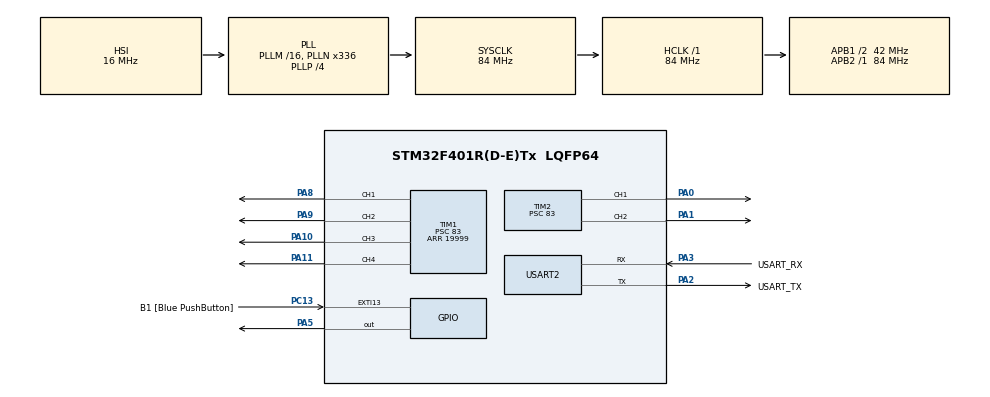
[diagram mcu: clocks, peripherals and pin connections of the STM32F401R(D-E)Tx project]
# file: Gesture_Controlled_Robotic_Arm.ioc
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Mcu.Family=STM32F4
Mcu.Name=STM32F401R(D-E)Tx
Mcu.Package=LQFP64
NVIC.PriorityGroup=NVIC_PRIORITYGROUP_4
PA0-WKUP.Signal=S_TIM2_CH1_ETR
PA1.Signal=S_TIM2_CH2
PA10.Signal=S_TIM1_CH3
PA11.Signal=S_TIM1_CH4
PA13.GPIO_Label=TMS
PA13.Mode=Trace_Asynchronous_SW
PA13.Signal=SYS_JTMS-SWDIO
PA14.GPIO_Label=TCK
PA14.Mode=Trace_Asynchronous_SW
PA14.Signal=SYS_JTCK-SWCLK
PA2.GPIO_Label=USART_TX
PA2.GPIO_Mode=GPIO_MODE_AF_PP
PA2.GPIO_PuPd=GPIO_NOPULL
PA2.GPIO_Speed=GPIO_SPEED_FREQ_LOW
PA2.Mode=Asynchronous
PA2.Signal=USART2_TX
PA3.GPIO_Label=USART_RX
PA3.GPIO_Mode=GPIO_MODE_AF_PP
PA3.GPIO_PuPd=GPIO_NOPULL
PA3.GPIO_Speed=GPIO_SPEED_FREQ_LOW
PA3.Mode=Asynchronous
PA3.Signal=USART2_RX
PA5.Signal=GPIO_Output
PA8.Signal=S_TIM1_CH1
PA9.Signal=S_TIM1_CH2
PB3.GPIO_Label=SWO
PB3.Mode=Trace_Asynchronous_SW
PB3.Signal=SYS_JTDO-SWO
PC13-ANTI_TAMP.GPIO_Label=B1 [Blue PushButton]
PC13-ANTI_TAMP.GPIO_ModeDefaultEXTI=GPIO_MODE_IT_FALLING
PC13-ANTI_TAMP.GPIO_PuPd=GPIO_NOPULL
PC13-ANTI_TAMP.Signal=GPXTI13
PC14-OSC32_IN.Mode=LSE-External-Oscillator
PC14-OSC32_IN.Signal=RCC_OSC32_IN
PC15-OSC32_OUT.Mode=LSE-External-Oscillator
PC15-OSC32_OUT.Signal=RCC_OSC32_OUT
PH0\ -\ OSC_IN.Mode=HSE-External-Clock-Source
PH0\ -\ OSC_IN.Signal=RCC_OSC_IN
PH1\ -\ OSC_OUT.Mode=HSE-External-Clock-Source
PH1\ -\ OSC_OUT.Signal=RCC_OSC_OUT
ProjectManager.HeapSize=0x200
ProjectManager.StackSize=0x400
ProjectManager.TargetToolchain=STM32CubeIDE
RCC.48MHZClocksFreq_Value=48000000
RCC.AHBFreq_Value=84000000
RCC.APB1CLKDivider=RCC_HCLK_DIV2
RCC.APB1Freq_Value=42000000
RCC.APB1TimFreq_Value=84000000
RCC.APB2Freq_Value=84000000
RCC.APB2TimFreq_Value=84000000
RCC.CortexFreq_Value=84000000
RCC.HCLKFreq_Value=84000000
RCC.HSE_VALUE=8000000
RCC.HSI_VALUE=16000000
RCC.PLLN=336
RCC.PLLP=RCC_PLLP_DIV4
RCC.PLLQ=7
RCC.SYSCLKFreq_VALUE=84000000
RCC.SYSCLKSource=RCC_SYSCLKSOURCE_PLLCLK
RCC.VCOOutputFreq_Value=336000000
SH.S_TIM1_CH1.0=TIM1_CH1,PWM Generation1 CH1
SH.S_TIM1_CH2.0=TIM1_CH2,PWM Generation2 CH2
SH.S_TIM1_CH3.0=TIM1_CH3,PWM Generation3 CH3
SH.S_TIM1_CH4.0=TIM1_CH4,PWM Generation4 CH4
SH.S_TIM2_CH1_ETR.0=TIM2_CH1,PWM Generation1 CH1
SH.S_TIM2_CH2.0=TIM2_CH2,PWM Generation2 CH2
TIM1.AutoReloadPreload=TIM_AUTORELOAD_PRELOAD_DISABLE
TIM1.Channel-PWM\ Generation1\ CH1=TIM_CHANNEL_1
TIM1.Channel-PWM\ Generation2\ CH2=TIM_CHANNEL_2
TIM1.Channel-PWM\ Generation3\ CH3=TIM_CHANNEL_3
TIM1.Channel-PWM\ Generation4\ CH4=TIM_CHANNEL_4
TIM1.Period=19999
TIM1.Prescaler=83
TIM2.Channel-PWM\ Generation1\ CH1=TIM_CHANNEL_1
TIM2.Channel-PWM\ Generation2\ CH2=TIM_CHANNEL_2
TIM2.Period=1999
TIM2.Prescaler=83
USART2.VirtualMode=VM_ASYNC
VP_TIM1_VS_ClockSourceINT.Mode=Internal
VP_TIM2_VS_ClockSourceINT.Mode=Internal
board=NUCLEO-F401RE

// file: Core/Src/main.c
/* USER CODE BEGIN Header */
/**
  ******************************************************************************
  * @file           : main.c
  * @brief          : Main program body
  ******************************************************************************
  * @attention
  *
  * Copyright (c) 2025 STMicroelectronics.
  * All rights reserved.
  *
  * This software is licensed under terms that can be found in the LICENSE file
  * in the root directory of this software component.
  * If no LICENSE file comes with this software, it is provided AS-IS.
  *
  ******************************************************************************
  */
/* USER CODE END Header */
#include "main.h"

TIM_HandleTypeDef htim1;
TIM_HandleTypeDef htim2;

UART_HandleTypeDef huart2;

void SystemClock_Config(void);
static void MX_GPIO_Init(void);
static void MX_USART2_UART_Init(void);
static void MX_TIM2_Init(void);
static void MX_TIM1_Init(void);
/* USER CODE BEGIN PFP */
void set_servo_angle(TIM_HandleTypeDef *htim, uint32_t Channel, uint8_t angle) {
    // 0° => 0.5ms pulse, 180° => 2.5ms pulse
    uint16_t min_pulse = 500;    // 0.5ms = 500us
    uint16_t max_pulse = 2500;   // 2.5ms = 2500us
    uint16_t pulse = min_pulse + (angle * (max_pulse - min_pulse)) / 180;

    __HAL_TIM_SET_COMPARE(htim, Channel, pulse);
}

void set_gripper_position(uint8_t percent) {
    // percent: 0 (fully closed) to 100 (fully open)
    uint16_t min_pulse = 700;    // closed
    uint16_t max_pulse = 1800;   // open

    if (percent > 100) percent = 100;  // clamp to 100%

    uint16_t pulse = min_pulse + (percent * (max_pulse - min_pulse)) / 100;

    __HAL_TIM_SET_COMPARE(&htim2, TIM_CHANNEL_2, pulse);
}
void update_all_servos(uint8_t servo_vals[6]) {
    // servo_vals[0] = base
    // servo_vals[1] = shoulder
    // servo_vals[2] = elbow
    // servo_vals[3] = wrist
    // servo_vals[4] = wrist_rotate
    // servo_vals[5] = gripper (as percentage)

    set_servo_angle(&htim2, TIM_CHANNEL_1, servo_vals[0]); // base
    set_servo_angle(&htim1, TIM_CHANNEL_1, servo_vals[1]); // shoulder

    set_servo_angle(&htim1, TIM_CHANNEL_2, servo_vals[2]); // elbow

    set_servo_angle(&htim1, TIM_CHANNEL_3, servo_vals[3]); // wrist

    set_servo_angle(&htim1, TIM_CHANNEL_4, servo_vals[4]); // wrist rotate
//    set_gripper_position(servo_vals[5]);                   // gripper
}

/* USER CODE END PFP */

int main(void)
{

  /* USER CODE BEGIN 1 */
	uint8_t pose1[6] = {90, 80, 80, 30, 100, 60};
	uint8_t pose2[6] = {90, 80, 80, 30, 100, 85};
	uint8_t pose3[6] = {130, 40, 120, 20, 100, 85};
	uint8_t pose4[6] = {180, 60, 120, 20, 100, 0};
	uint8_t rx_byte;

  /* USER CODE END 1 */

  /* MCU Configuration--------------------------------------------------------*/

  /* Reset of all peripherals, Initializes the Flash interface and the Systick. */
  HAL_Init();

  /* Configure the system clock */
  SystemClock_Config();

  /* Initialize all configured peripherals */
  MX_GPIO_Init();
  MX_USART2_UART_Init();
  MX_TIM2_Init();
  MX_TIM1_Init();
  /* USER CODE BEGIN 2 */
  HAL_TIM_PWM_Start(&htim2, TIM_CHANNEL_1);
  HAL_TIM_PWM_Start(&htim1, TIM_CHANNEL_1);
  HAL_TIM_PWM_Start(&htim1, TIM_CHANNEL_2);
  HAL_TIM_PWM_Start(&htim1, TIM_CHANNEL_3);
  HAL_TIM_PWM_Start(&htim1, TIM_CHANNEL_4);
  HAL_TIM_PWM_Start(&htim2, TIM_CHANNEL_2);
  update_all_servos(pose1);

//  set_servo_angle(&htim2, TIM_CHANNEL_1, 90); //inc to move right
//  set_servo_angle(&htim1, TIM_CHANNEL_1, 80);
//  set_servo_angle(&htim1, TIM_CHANNEL_2, 80);  //increase to move down
//  set_servo_angle(&htim1, TIM_CHANNEL_3, 30);
//  set_servo_angle(&htim1, TIM_CHANNEL_4, 100);
//  set_gripper_position(0);

//
//  HAL_Delay(2000);
//  set_servo_angle(&htim2, TIM_CHANNEL_1, 90); //inc to move right
//  set_servo_angle(&htim1, TIM_CHANNEL_1, 80);
//  set_servo_angle(&htim1, TIM_CHANNEL_2, 80);  //increase to move down
//  set_servo_angle(&htim1, TIM_CHANNEL_3, 30);
//  set_servo_angle(&htim1, TIM_CHANNEL_4, 100);
//  set_gripper_position(85);
//
//  HAL_Delay(2000);
//  set_servo_angle(&htim2, TIM_CHANNEL_1, 130); //inc to move right
//  set_servo_angle(&htim1, TIM_CHANNEL_1, 60);
//  set_servo_angle(&htim1, TIM_CHANNEL_2, 120);  //increase to move down
//  set_servo_angle(&htim1, TIM_CHANNEL_3, 20);
//  set_servo_angle(&htim1, TIM_CHANNEL_4, 100);
//  set_gripper_position(85);
//
//  HAL_Delay(2000);
//  set_servo_angle(&htim2, TIM_CHANNEL_1, 130); //inc to move right
//  set_servo_angle(&htim1, TIM_CHANNEL_1, 60);
//  set_servo_angle(&htim1, TIM_CHANNEL_2, 120);  //increase to move down
//  set_servo_angle(&htim1, TIM_CHANNEL_3, 20);
//  set_servo_angle(&htim1, TIM_CHANNEL_4, 100);
//  set_gripper_position(0);

//
//  HAL_Delay(2000);
//
//  set_servo_angle(&htim2, TIM_CHANNEL_1, 120);
//  set_servo_angle(&htim1, TIM_CHANNEL_1, 50);
//  set_servo_angle(&htim1, TIM_CHANNEL_2, 40);
//  set_servo_angle(&htim1, TIM_CHANNEL_3, 50);
//  set_servo_angle(&htim1, TIM_CHANNEL_4, 50);
//  set_gripper_position(100);

  /* USER CODE END 2 */

  /* Infinite loop */
  while (1)
  {

    /* USER CODE BEGIN 3 */
//	update_all_servos(pose1);
//	HAL_Delay(2000);
//
//	update_all_servos(pose2);
//	HAL_Delay(2000);
//
//	update_all_servos(pose3);
//	HAL_Delay(2000);
//
//	update_all_servos(pose4);
//	HAL_Delay(2000);

    if (HAL_UART_Receive(&huart2, &rx_byte, 1, HAL_MAX_DELAY) == HAL_OK)
    {
        if (rx_byte == '1' ||rx_byte == '3' )
        {
        	set_gripper_position(70);
        	HAL_GPIO_WritePin(GPIOA, GPIO_PIN_5, 1);

        }
        else if (rx_byte == '2')
        {
        	set_gripper_position(20);
        }
        else if (rx_byte == '4') //peace
        {
        	update_all_servos(pose3);
        }
        else if (rx_byte == '5') //yoyo
        {
        	update_all_servos(pose1);
        }
    }
  }
  /* USER CODE END 3 */
}

void SystemClock_Config(void)
{
  RCC_OscInitTypeDef RCC_OscInitStruct = {0};
  RCC_ClkInitTypeDef RCC_ClkInitStruct = {0};

  /** Configure the main internal regulator output voltage
  */
  __HAL_RCC_PWR_CLK_ENABLE();
  __HAL_PWR_VOLTAGESCALING_CONFIG(PWR_REGULATOR_VOLTAGE_SCALE2);

  /** Initializes the RCC Oscillators according to the specified parameters
  * in the RCC_OscInitTypeDef structure.
  */
  RCC_OscInitStruct.OscillatorType = RCC_OSCILLATORTYPE_HSI;
  RCC_OscInitStruct.HSIState = RCC_HSI_ON;
  RCC_OscInitStruct.HSICalibrationValue = RCC_HSICALIBRATION_DEFAULT;
  RCC_OscInitStruct.PLL.PLLState = RCC_PLL_ON;
  RCC_OscInitStruct.PLL.PLLSource = RCC_PLLSOURCE_HSI;
  RCC_OscInitStruct.PLL.PLLM = 16;
  RCC_OscInitStruct.PLL.PLLN = 336;
  RCC_OscInitStruct.PLL.PLLP = RCC_PLLP_DIV4;
  RCC_OscInitStruct.PLL.PLLQ = 7;
  if (HAL_RCC_OscConfig(&RCC_OscInitStruct) != HAL_OK)
  {
    Error_Handler();
  }

  /** Initializes the CPU, AHB and APB buses clocks
  */
  RCC_ClkInitStruct.ClockType = RCC_CLOCKTYPE_HCLK|RCC_CLOCKTYPE_SYSCLK
                              |RCC_CLOCKTYPE_PCLK1|RCC_CLOCKTYPE_PCLK2;
  RCC_ClkInitStruct.SYSCLKSource = RCC_SYSCLKSOURCE_PLLCLK;
  RCC_ClkInitStruct.AHBCLKDivider = RCC_SYSCLK_DIV1;
  RCC_ClkInitStruct.APB1CLKDivider = RCC_HCLK_DIV2;
  RCC_ClkInitStruct.APB2CLKDivider = RCC_HCLK_DIV1;

  if (HAL_RCC_ClockConfig(&RCC_ClkInitStruct, FLASH_LATENCY_2) != HAL_OK)
  {
    Error_Handler();
  }
}

static void MX_TIM1_Init(void)
{

  TIM_ClockConfigTypeDef sClockSourceConfig = {0};
  TIM_MasterConfigTypeDef sMasterConfig = {0};
  TIM_OC_InitTypeDef sConfigOC = {0};
  TIM_BreakDeadTimeConfigTypeDef sBreakDeadTimeConfig = {0};

  htim1.Instance = TIM1;
  htim1.Init.Prescaler = 83;
  htim1.Init.CounterMode = TIM_COUNTERMODE_UP;
  htim1.Init.Period = 19999;
  htim1.Init.ClockDivision = TIM_CLOCKDIVISION_DIV1;
  htim1.Init.RepetitionCounter = 0;
  htim1.Init.AutoReloadPreload = TIM_AUTORELOAD_PRELOAD_DISABLE;
  if (HAL_TIM_Base_Init(&htim1) != HAL_OK)
  {
    Error_Handler();
  }
  sClockSourceConfig.ClockSource = TIM_CLOCKSOURCE_INTERNAL;
  if (HAL_TIM_ConfigClockSource(&htim1, &sClockSourceConfig) != HAL_OK)
  {
    Error_Handler();
  }
  if (HAL_TIM_PWM_Init(&htim1) != HAL_OK)
  {
    Error_Handler();
  }
  sMasterConfig.MasterOutputTrigger = TIM_TRGO_RESET;
  sMasterConfig.MasterSlaveMode = TIM_MASTERSLAVEMODE_DISABLE;
  if (HAL_TIMEx_MasterConfigSynchronization(&htim1, &sMasterConfig) != HAL_OK)
  {
    Error_Handler();
  }
  sConfigOC.OCMode = TIM_OCMODE_PWM1;
  sConfigOC.Pulse = 0;
  sConfigOC.OCPolarity = TIM_OCPOLARITY_HIGH;
  sConfigOC.OCNPolarity = TIM_OCNPOLARITY_HIGH;
  sConfigOC.OCFastMode = TIM_OCFAST_DISABLE;
  sConfigOC.OCIdleState = TIM_OCIDLESTATE_RESET;
  sConfigOC.OCNIdleState = TIM_OCNIDLESTATE_RESET;
  if (HAL_TIM_PWM_ConfigChannel(&htim1, &sConfigOC, TIM_CHANNEL_1) != HAL_OK)
  {
    Error_Handler();
  }
  if (HAL_TIM_PWM_ConfigChannel(&htim1, &sConfigOC, TIM_CHANNEL_2) != HAL_OK)
  {
    Error_Handler();
  }
  if (HAL_TIM_PWM_ConfigChannel(&htim1, &sConfigOC, TIM_CHANNEL_3) != HAL_OK)
  {
    Error_Handler();
  }
  if (HAL_TIM_PWM_ConfigChannel(&htim1, &sConfigOC, TIM_CHANNEL_4) != HAL_OK)
  {
    Error_Handler();
  }
  sBreakDeadTimeConfig.OffStateRunMode = TIM_OSSR_DISABLE;
  sBreakDeadTimeConfig.OffStateIDLEMode = TIM_OSSI_DISABLE;
  sBreakDeadTimeConfig.LockLevel = TIM_LOCKLEVEL_OFF;
  sBreakDeadTimeConfig.DeadTime = 0;
  sBreakDeadTimeConfig.BreakState = TIM_BREAK_DISABLE;
  sBreakDeadTimeConfig.BreakPolarity = TIM_BREAKPOLARITY_HIGH;
  sBreakDeadTimeConfig.AutomaticOutput = TIM_AUTOMATICOUTPUT_DISABLE;
  if (HAL_TIMEx_ConfigBreakDeadTime(&htim1, &sBreakDeadTimeConfig) != HAL_OK)
  {
    Error_Handler();
  }
  HAL_TIM_MspPostInit(&htim1);

}

static void MX_TIM2_Init(void)
{

  TIM_ClockConfigTypeDef sClockSourceConfig = {0};
  TIM_MasterConfigTypeDef sMasterConfig = {0};
  TIM_OC_InitTypeDef sConfigOC = {0};

  htim2.Instance = TIM2;
  htim2.Init.Prescaler = 83;
  htim2.Init.CounterMode = TIM_COUNTERMODE_UP;
  htim2.Init.Period = 1999;
  htim2.Init.ClockDivision = TIM_CLOCKDIVISION_DIV1;
  htim2.Init.AutoReloadPreload = TIM_AUTORELOAD_PRELOAD_DISABLE;
  if (HAL_TIM_Base_Init(&htim2) != HAL_OK)
  {
    Error_Handler();
  }
  sClockSourceConfig.ClockSource = TIM_CLOCKSOURCE_INTERNAL;
  if (HAL_TIM_ConfigClockSource(&htim2, &sClockSourceConfig) != HAL_OK)
  {
    Error_Handler();
  }
  if (HAL_TIM_PWM_Init(&htim2) != HAL_OK)
  {
    Error_Handler();
  }
  sMasterConfig.MasterOutputTrigger = TIM_TRGO_RESET;
  sMasterConfig.MasterSlaveMode = TIM_MASTERSLAVEMODE_DISABLE;
  if (HAL_TIMEx_MasterConfigSynchronization(&htim2, &sMasterConfig) != HAL_OK)
  {
    Error_Handler();
  }
  sConfigOC.OCMode = TIM_OCMODE_PWM1;
  sConfigOC.Pulse = 0;
  sConfigOC.OCPolarity = TIM_OCPOLARITY_HIGH;
  sConfigOC.OCFastMode = TIM_OCFAST_DISABLE;
  if (HAL_TIM_PWM_ConfigChannel(&htim2, &sConfigOC, TIM_CHANNEL_1) != HAL_OK)
  {
    Error_Handler();
  }
  if (HAL_TIM_PWM_ConfigChannel(&htim2, &sConfigOC, TIM_CHANNEL_2) != HAL_OK)
  {
    Error_Handler();
  }
  HAL_TIM_MspPostInit(&htim2);

}

static void MX_USART2_UART_Init(void)
{

  huart2.Instance = USART2;
  huart2.Init.BaudRate = 115200;
  huart2.Init.WordLength = UART_WORDLENGTH_8B;
  huart2.Init.StopBits = UART_STOPBITS_1;
  huart2.Init.Parity = UART_PARITY_NONE;
  huart2.Init.Mode = UART_MODE_TX_RX;
  huart2.Init.HwFlowCtl = UART_HWCONTROL_NONE;
  huart2.Init.OverSampling = UART_OVERSAMPLING_16;
  if (HAL_UART_Init(&huart2) != HAL_OK)
  {
    Error_Handler();
  }

}

static void MX_GPIO_Init(void)
{
  GPIO_InitTypeDef GPIO_InitStruct = {0};

  /* GPIO Ports Clock Enable */
  __HAL_RCC_GPIOC_CLK_ENABLE();
  __HAL_RCC_GPIOH_CLK_ENABLE();
  __HAL_RCC_GPIOA_CLK_ENABLE();
  __HAL_RCC_GPIOB_CLK_ENABLE();

  /*Configure GPIO pin Output Level */
  HAL_GPIO_WritePin(GPIOA, GPIO_PIN_5, GPIO_PIN_RESET);

  /*Configure GPIO pin : B1_Pin */
  GPIO_InitStruct.Pin = B1_Pin;
  GPIO_InitStruct.Mode = GPIO_MODE_IT_FALLING;
  GPIO_InitStruct.Pull = GPIO_NOPULL;
  HAL_GPIO_Init(B1_GPIO_Port, &GPIO_InitStruct);

  /*Configure GPIO pin : PA5 */
  GPIO_InitStruct.Pin = GPIO_PIN_5;
  GPIO_InitStruct.Mode = GPIO_MODE_OUTPUT_PP;
  GPIO_InitStruct.Pull = GPIO_NOPULL;
  GPIO_InitStruct.Speed = GPIO_SPEED_FREQ_LOW;
  HAL_GPIO_Init(GPIOA, &GPIO_InitStruct);

}

void Error_Handler(void)
{
  __disable_irq();
  while (1)
  {
  }
}
